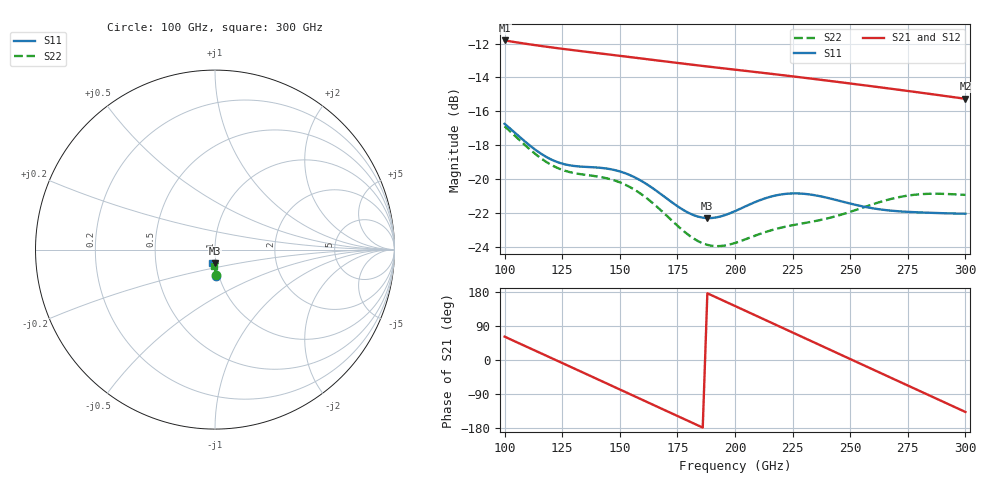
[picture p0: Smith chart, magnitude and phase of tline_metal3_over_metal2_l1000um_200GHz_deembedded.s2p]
! Created with skrf 2.0.1 (http://scikit-rf.org).
# GHz S DB R 50.0
!freq dBS11 angS11 dBS21 angS21 dBS12 angS12 dBS22 angS22
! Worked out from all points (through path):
!   101 points, 100 GHz to 300 GHz, reference 50 ohm
!   highest |S21| = -11.81 dB at 100 GHz (marker M1); lowest = -15.3 dB at 300 GHz (marker M2)
!   group delay of S21, straight-line fit = 7.76 ps
!   lowest |S11| = -22.3 dB at 188 GHz (marker M3), VSWR 1.17, Z = 49.3 - j7.59 ohm
!   |S11| at or under -10 dB: start of sweep to end of sweep
!   |S22| runs from -24.0 to -16.9 dB; largest |S21 - S12| = 2.7e-13
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100  -16.74 -87.3  -11.81 61.6  -11.81 61.6  -16.89 -87.1
110  -17.92 -89.6  -12.02 33.8  -12.02 33.8  -18.14 -89.6
118  -18.69 -89.1  -12.18 11.6  -12.18 11.6  -18.99 -89.2
126  -19.13 -87.9  -12.32 -10.7  -12.32 -10.7  -19.51 -88.0
134  -19.28 -87.7  -12.46 -33.0  -12.46 -33.0  -19.74 -87.8
144  -19.38 -89.8  -12.62 -61.0  -12.62 -61.0  -19.95 -89.9
152  -19.64 -92.9  -12.75 -83.3  -12.75 -83.3  -20.31 -93.0
160  -20.17 -95.9  -12.89 -105.7  -12.89 -105.7  -20.96 -96.1
168  -20.91 -97.5  -13.02 -128.1  -13.02 -128.1  -21.87 -97.6
178  -21.87 -95.9  -13.19 -156.0  -13.19 -156.0  -23.11 -95.7
188  -22.31 -91.1  -13.35 176.0  -13.35 176.0  -23.90 -89.5
200  -21.90 -86.6  -13.54 142.5  -13.54 142.5  -23.79 -82.0
208  -21.41 -86.7  -13.66 120.1  -13.66 120.1  -23.39 -79.7
216  -21.03 -88.8  -13.79 97.7  -13.79 97.7  -23.02 -79.1
224  -20.86 -92.0  -13.92 75.3  -13.92 75.3  -22.76 -79.2
234  -20.95 -96.0  -14.08 47.3  -14.08 47.3  -22.51 -79.4
242  -21.18 -98.4  -14.22 24.9  -14.22 24.9  -22.27 -79.5
250  -21.45 -99.9  -14.36 2.6  -14.36 2.6  -21.94 -79.9
258  -21.69 -100.6  -14.49 -19.8  -14.49 -19.8  -21.58 -81.1
268  -21.88 -101.0  -14.67 -47.8  -14.67 -47.8  -21.17 -83.9
284  -22.00 -101.8  -14.96 -92.4  -14.96 -92.4  -20.88 -89.7
300  -22.05 -102.9  -15.26 -137.1  -15.26 -137.1  -20.94 -94.6
